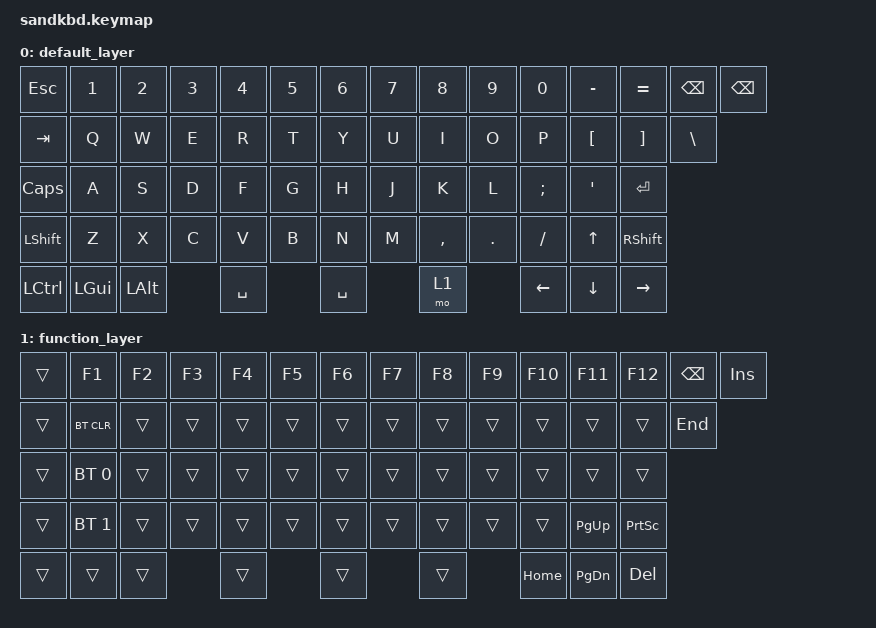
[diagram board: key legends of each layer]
#include <behaviors.dtsi>
#include <dt-bindings/zmk/keys.h>
#include <dt-bindings/zmk/bt.h>
#include <dt-bindings/zmk/outputs.h>

/ {
        keymap {
                compatible = "zmk,keymap";

                default_layer {

                        bindings = <
   &kp ESC      &kp N1       &kp N2       &kp N3       &kp N4       &kp N5       &kp N6       &kp N7       &kp N8       &kp N9       &kp N0       &kp MINUS    &kp EQUAL    &kp BSPC    &kp BSPC
   &kp TAB      &kp Q        &kp W        &kp E        &kp R        &kp T        &kp Y        &kp U        &kp I        &kp O        &kp P        &kp LBKT     &kp RBKT     &kp BSLH
   &kp CAPS     &kp A        &kp S        &kp D        &kp F        &kp G        &kp H        &kp J        &kp K        &kp L        &kp SEMI     &kp SQT      &kp ENTER                    
   &kp LSHFT    &kp Z        &kp X        &kp C        &kp V        &kp B        &kp N        &kp M        &kp COMMA    &kp DOT      &kp SLASH    &kp UP       &kp RSHIFT
   &kp LCTRL    &kp LGUI         &kp LALT            &kp SPACE                 &kp SPACE                   &mo 1                     &kp LEFT     &kp DOWN     &kp RIGHT 
                                >;
                        };

                function_layer {

                        bindings = <
   &trans       &kp F1       &kp F2       &kp F3       &kp F4       &kp F5       &kp F6       &kp F7       &kp F8       &kp F9       &kp F10      &kp F11      &kp F12      &kp BSPC       &kp INS
   &trans       &bt BT_CLR   &trans       &trans       &trans       &trans       &trans       &trans       &trans       &trans       &trans       &trans       &trans       &kp END
   &trans       &bt BT_SEL 0 &trans       &trans       &trans       &trans       &trans       &trans       &trans       &trans       &trans       &trans       &trans                    
   &trans       &bt BT_SEL 1 &trans       &trans       &trans       &trans       &trans       &trans       &trans       &trans       &trans       &kp PG_UP       &kp PSCRN
   &trans       &trans            &trans             &trans                    &trans                      &trans                    &kp HOME     &kp PG_DN       &kp DEL 
                                >;
                        };
        };
};
